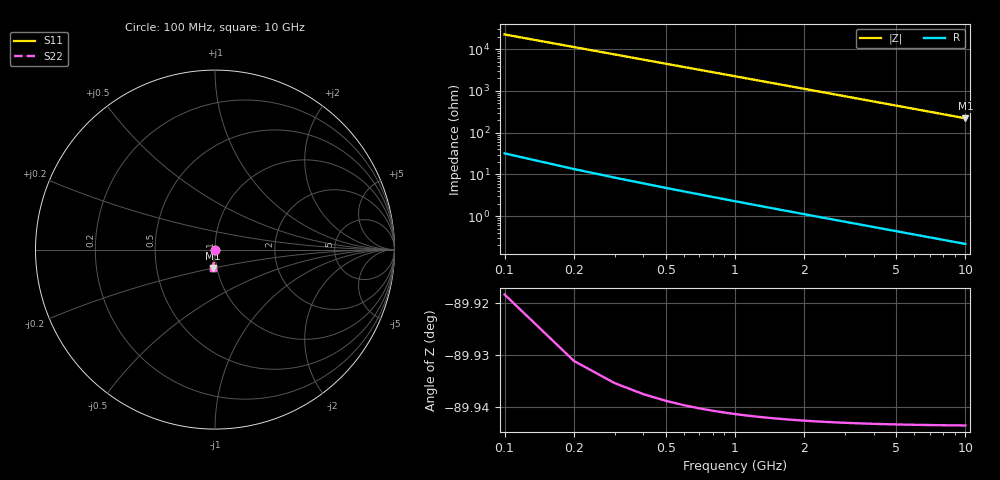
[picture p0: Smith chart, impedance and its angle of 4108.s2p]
# Hz S RI R 50.00
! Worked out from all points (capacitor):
!   100 points, 100 MHz to 10 GHz, reference 50 ohm
!   read as one part in shunt: C = 71 fF near 100 MHz
!   lowest |Z| = 221 ohm at 10 GHz (marker M1)
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1e8  1.77e-05 -0.00103  1 -0.0012  1 -0.0012  1.77e-05 -0.00103
2e8  1.3e-05 -0.00206  1 -0.0024  1 -0.0024  1.3e-05 -0.00206
3e8  5.82e-06 -0.00309  1 -0.00361  1 -0.00361  5.82e-06 -0.00309
4e8  -3.85e-06 -0.00412  1 -0.00481  1 -0.00481  -3.85e-06 -0.00412
5e8  -1.6e-05 -0.00515  0.9999 -0.00601  0.9999 -0.00601  -1.6e-05 -0.00515
6e8  -3.07e-05 -0.00618  0.9999 -0.00721  0.9999 -0.00721  -3.07e-05 -0.00618
7e8  -4.78e-05 -0.00721  0.9999 -0.00842  0.9999 -0.00842  -4.78e-05 -0.00721
8e8  -6.74e-05 -0.00824  0.9999 -0.00962  0.9999 -0.00962  -6.74e-05 -0.00824
9e8  -8.95e-05 -0.00927  0.9999 -0.0108  0.9999 -0.0108  -8.95e-05 -0.00927
1.1e9  -0.000141 -0.0113  0.9998 -0.0132  0.9998 -0.0132  -0.000141 -0.0113
1.4e9  -0.000237 -0.0144  0.9997 -0.0168  0.9997 -0.0168  -0.000237 -0.0144
1.8e9  -0.000401 -0.0186  0.9996 -0.0217  0.9996 -0.0217  -0.000401 -0.0186
2.1e9  -0.00055 -0.0217  0.9994 -0.0253  0.9994 -0.0253  -0.00055 -0.0217
2.5e9  -0.000783 -0.0258  0.9992 -0.0301  0.9992 -0.0301  -0.000783 -0.0258
2.9e9  -0.00106 -0.0299  0.9989 -0.0349  0.9989 -0.0349  -0.00106 -0.0299
3.4e9  -0.00146 -0.0351  0.9985 -0.041  0.9985 -0.041  -0.00146 -0.0351
4.2e9  -0.00223 -0.0434  0.9977 -0.0507  0.9977 -0.0507  -0.00223 -0.0434
5.1e9  -0.00329 -0.0527  0.9966 -0.0616  0.9966 -0.0616  -0.00329 -0.0527
5.9e9  -0.00441 -0.061  0.9955 -0.0713  0.9955 -0.0713  -0.00441 -0.061
6.7e9  -0.00569 -0.0692  0.9942 -0.0809  0.9942 -0.0809  -0.00569 -0.0692
8.4e9  -0.00895 -0.0867  0.9909 -0.1015  0.9909 -0.1015  -0.00895 -0.0867
1e10  -0.0127 -0.103  0.9871 -0.1207  0.9871 -0.1207  -0.0127 -0.103
